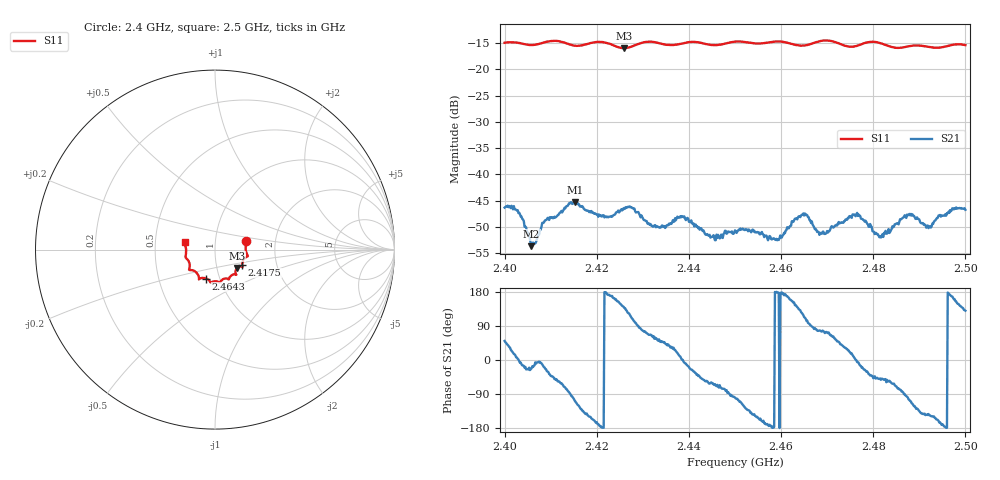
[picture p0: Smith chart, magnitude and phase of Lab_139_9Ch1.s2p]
# Hz S RI R 50
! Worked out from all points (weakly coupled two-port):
!   601 points, 2.4 GHz to 2.5 GHz, reference 50 ohm
!   highest |S21| = -45.31 dB at 2.4153 GHz (marker M1); lowest = -53.7 dB at 2.4058 GHz (marker M2)
!   lowest |S11| = -16.0 dB at 2.4258 GHz (marker M3), VSWR 1.38, Z = 62.4 - j13.1 ohm
!   |S11| at or under -10 dB: start of sweep to end of sweep
!   S12 and S22 are empty: the file has one direction only
!   S11 on the Smith chart (normalised r, x): 2.4 GHz: 1.41, +0.14; 2.4175 GHz: 1.33, -0.23; 2.4643 GHz: 0.86, -0.29; 2.5 GHz: 0.71, +0.06
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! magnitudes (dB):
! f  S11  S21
! 2.4 GHz  -14.9  -46.4
! 2.4032 GHz  -15.0  -47.3
! 2.4058 GHz  -15.4  -53.7
! 2.409 GHz  -14.8  -48.7
! 2.4153 GHz  -15.5  -45.3
! 2.4167 GHz  -15.4  -46.2
! 2.4175 GHz  -15.3  -46.8
! 2.4258 GHz  -16.0  -46.7
! 2.4333 GHz  -15.0  -50.1
! 2.4385 GHz  -15.1  -48.0
! 2.4453 GHz  -15.4  -51.6
! 2.45 GHz  -14.7  -50.7
! 2.4592 GHz  -14.7  -52.6
! 2.4643 GHz  -15.5  -47.9
! 2.4667 GHz  -15.1  -49.0
! 2.4698 GHz  -14.5  -51.2
! 2.476 GHz  -15.6  -47.8
! 2.4813 GHz  -14.9  -52.0
! 2.4833 GHz  -15.5  -50.4
! 2.4878 GHz  -15.6  -47.6
! 2.492 GHz  -15.7  -50.3
! 2.5 GHz  -15.4  -46.8
